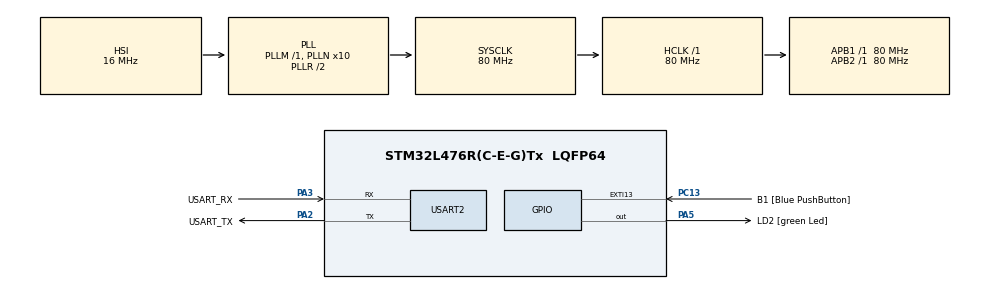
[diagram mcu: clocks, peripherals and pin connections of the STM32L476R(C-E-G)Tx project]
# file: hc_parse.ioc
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FREERTOS.BinarySemaphores01=messageReceptionSem,Dynamic,NULL
FREERTOS.Tasks01=defaultTask,0,128,StartDefaultTask,Default,NULL,Dynamic,NULL,NULL;getMessageTsk,0,128,startGetMessageTk,Default,NULL,Dynamic,NULL,NULL
Mcu.Family=STM32L4
Mcu.Name=STM32L476R(C-E-G)Tx
Mcu.Package=LQFP64
NVIC.PriorityGroup=NVIC_PRIORITYGROUP_4
NVIC.TIM1_UP_TIM16_IRQn=true\:0\:0\:false\:false\:true\:false\:false\:true
NVIC.TimeBase=TIM1_UP_TIM16_IRQn
NVIC.TimeBaseIP=TIM1
PA13\ (JTMS-SWDIO).GPIO_Label=TMS
PA13\ (JTMS-SWDIO).Mode=Serial_Wire
PA13\ (JTMS-SWDIO).Signal=SYS_JTMS-SWDIO
PA14\ (JTCK-SWCLK).GPIO_Label=TCK
PA14\ (JTCK-SWCLK).Mode=Serial_Wire
PA14\ (JTCK-SWCLK).Signal=SYS_JTCK-SWCLK
PA2.GPIO_Label=USART_TX
PA2.GPIO_Mode=GPIO_MODE_AF_PP
PA2.GPIO_PuPd=GPIO_NOPULL
PA2.GPIO_Speed=GPIO_SPEED_FREQ_VERY_HIGH
PA2.Mode=Asynchronous
PA2.Signal=USART2_TX
PA3.GPIO_Label=USART_RX
PA3.GPIO_Mode=GPIO_MODE_AF_PP
PA3.GPIO_PuPd=GPIO_NOPULL
PA3.GPIO_Speed=GPIO_SPEED_FREQ_VERY_HIGH
PA3.Mode=Asynchronous
PA3.Signal=USART2_RX
PA5.GPIO_Label=LD2 [green Led]
PA5.GPIO_ModeDefaultOutputPP=GPIO_MODE_OUTPUT_PP
PA5.GPIO_PuPd=GPIO_NOPULL
PA5.GPIO_Speed=GPIO_SPEED_FREQ_LOW
PA5.Signal=GPIO_Output
PB3\ (JTDO-TRACESWO).GPIO_Label=SWO
PB3\ (JTDO-TRACESWO).Signal=SYS_JTDO-SWO
PC13.GPIO_Label=B1 [Blue PushButton]
PC13.GPIO_ModeDefaultEXTI=GPIO_MODE_IT_FALLING
PC13.GPIO_PuPd=GPIO_NOPULL
PC13.Signal=GPXTI13
PC14-OSC32_IN\ (PC14).Mode=LSE-External-Oscillator
PC14-OSC32_IN\ (PC14).Signal=RCC_OSC32_IN
PC15-OSC32_OUT\ (PC15).Mode=LSE-External-Oscillator
PC15-OSC32_OUT\ (PC15).Signal=RCC_OSC32_OUT
PH0-OSC_IN\ (PH0).Mode=HSE-External-Oscillator
PH0-OSC_IN\ (PH0).Signal=RCC_OSC_IN
PH1-OSC_OUT\ (PH1).Mode=HSE-External-Oscillator
PH1-OSC_OUT\ (PH1).Signal=RCC_OSC_OUT
ProjectManager.HeapSize=0x200
ProjectManager.StackSize=0x400
ProjectManager.TargetToolchain=Makefile
RCC.ADCFreq_Value=64000000
RCC.AHBFreq_Value=80000000
RCC.APB1Freq_Value=80000000
RCC.APB1TimFreq_Value=80000000
RCC.APB2Freq_Value=80000000
RCC.APB2TimFreq_Value=80000000
RCC.CortexFreq_Value=80000000
RCC.HCLKFreq_Value=80000000
RCC.HSE_VALUE=8000000
RCC.HSI_VALUE=16000000
RCC.MSI_VALUE=4000000
RCC.PLLN=10
RCC.PLLSourceVirtual=RCC_PLLSOURCE_HSI
RCC.PREFETCH_ENABLE=1
RCC.SYSCLKFreq_VALUE=80000000
RCC.SYSCLKSource=RCC_SYSCLKSOURCE_PLLCLK
RCC.USBFreq_Value=64000000
RCC.VCOOutputFreq_Value=160000000
USART2.VirtualMode-Asynchronous=VM_ASYNC
VP_FREERTOS_VS_CMSIS_V1.Mode=CMSIS_V1
VP_SYS_VS_tim1.Mode=TIM1
board=NUCLEO-L476RG

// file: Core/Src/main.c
/* USER CODE BEGIN Header */
/**
  ******************************************************************************
  * @file           : main.c
  * @brief          : Main program body
  ******************************************************************************
  * @attention
  *
  * <h2><center>&copy; Copyright (c) 2019 STMicroelectronics.
  * All rights reserved.</center></h2>
  *
  * This software component is licensed by ST under Ultimate Liberty license
  * SLA0044, the "License"; You may not use this file except in compliance with
  * the License. You may obtain a copy of the License at:
  *                             www.st.com/SLA0044
  *
  ******************************************************************************
  */
/* USER CODE END Header */

#include "main.h"
#include "cmsis_os.h"
#include "usart.h"
#include "gpio.h"

void SystemClock_Config(void);
void MX_FREERTOS_Init(void);

int main(void)
{

  /* MCU Configuration--------------------------------------------------------*/

  /* Reset of all peripherals, Initializes the Flash interface and the Systick. */
  HAL_Init();

  /* Configure the system clock */
  SystemClock_Config();

  /* Initialize all configured peripherals */
  MX_GPIO_Init();
  MX_USART2_UART_Init();

  /* Call init function for freertos objects (in freertos.c) */
  MX_FREERTOS_Init();

  /* Start scheduler */
  osKernelStart();

  /* We should never get here as control is now taken by the scheduler */

  /* Infinite loop */
  while (1)
  {

  }
}

void SystemClock_Config(void)
{
  RCC_OscInitTypeDef RCC_OscInitStruct = {0};
  RCC_ClkInitTypeDef RCC_ClkInitStruct = {0};
  RCC_PeriphCLKInitTypeDef PeriphClkInit = {0};

  /** Initializes the CPU, AHB and APB busses clocks
  */
  RCC_OscInitStruct.OscillatorType = RCC_OSCILLATORTYPE_HSI;
  RCC_OscInitStruct.HSIState = RCC_HSI_ON;
  RCC_OscInitStruct.HSICalibrationValue = RCC_HSICALIBRATION_DEFAULT;
  RCC_OscInitStruct.PLL.PLLState = RCC_PLL_ON;
  RCC_OscInitStruct.PLL.PLLSource = RCC_PLLSOURCE_HSI;
  RCC_OscInitStruct.PLL.PLLM = 1;
  RCC_OscInitStruct.PLL.PLLN = 10;
  RCC_OscInitStruct.PLL.PLLP = RCC_PLLP_DIV7;
  RCC_OscInitStruct.PLL.PLLQ = RCC_PLLQ_DIV2;
  RCC_OscInitStruct.PLL.PLLR = RCC_PLLR_DIV2;
  if (HAL_RCC_OscConfig(&RCC_OscInitStruct) != HAL_OK)
  {
    Error_Handler();
  }
  /** Initializes the CPU, AHB and APB busses clocks
  */
  RCC_ClkInitStruct.ClockType = RCC_CLOCKTYPE_HCLK|RCC_CLOCKTYPE_SYSCLK
                              |RCC_CLOCKTYPE_PCLK1|RCC_CLOCKTYPE_PCLK2;
  RCC_ClkInitStruct.SYSCLKSource = RCC_SYSCLKSOURCE_PLLCLK;
  RCC_ClkInitStruct.AHBCLKDivider = RCC_SYSCLK_DIV1;
  RCC_ClkInitStruct.APB1CLKDivider = RCC_HCLK_DIV1;
  RCC_ClkInitStruct.APB2CLKDivider = RCC_HCLK_DIV1;

  if (HAL_RCC_ClockConfig(&RCC_ClkInitStruct, FLASH_LATENCY_4) != HAL_OK)
  {
    Error_Handler();
  }
  PeriphClkInit.PeriphClockSelection = RCC_PERIPHCLK_USART2;
  PeriphClkInit.Usart2ClockSelection = RCC_USART2CLKSOURCE_PCLK1;
  if (HAL_RCCEx_PeriphCLKConfig(&PeriphClkInit) != HAL_OK)
  {
    Error_Handler();
  }
  /** Configure the main internal regulator output voltage
  */
  if (HAL_PWREx_ControlVoltageScaling(PWR_REGULATOR_VOLTAGE_SCALE1) != HAL_OK)
  {
    Error_Handler();
  }
}

void HAL_TIM_PeriodElapsedCallback(TIM_HandleTypeDef *htim)
{
  if (htim->Instance == TIM1) {
    HAL_IncTick();
  }
}

void Error_Handler(void)
{
}

/************************ (C) COPYRIGHT STMicroelectronics *****END OF FILE****/

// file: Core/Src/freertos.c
/* USER CODE BEGIN Header */
/**
 ******************************************************************************
 * File Name          : freertos.c
 * Description        : Code for freertos applications
 ******************************************************************************
 * @attention
 *
 * <h2><center>&copy; Copyright (c) 2019 STMicroelectronics.
 * All rights reserved.</center></h2>
 *
 * This software component is licensed by ST under Ultimate Liberty license
 * SLA0044, the "License"; You may not use this file except in compliance with
 * the License. You may obtain a copy of the License at:
 *                             www.st.com/SLA0044
 *
 ******************************************************************************
 */
/* USER CODE END Header */

#include "FreeRTOS.h"
#include "cmsis_os.h"
#include "main.h"
#include "task.h"

/* USER CODE BEGIN Includes */
#include "moteurpp.h"
#include "usart.h"
#include <stdio.h>
/* USER CODE END Includes */

osThreadId defaultTaskHandle;
osThreadId getMessageTskHandle;
osSemaphoreId messageReceptionSemHandle;

void
StartDefaultTask(void const* argument);
void
startGetMessageTk(void const* argument);

void
MX_FREERTOS_Init(void); /* (MISRA C 2004 rule 8.1) */

void
MX_FREERTOS_Init(void)
{

  /* Create the semaphores(s) */
  /* definition and creation of messageReceptionSem */
  osSemaphoreDef(messageReceptionSem);
  messageReceptionSemHandle =
    osSemaphoreCreate(osSemaphore(messageReceptionSem), 1);

  /* Create the thread(s) */
  /* definition and creation of defaultTask */
  osThreadDef(defaultTask, StartDefaultTask, osPriorityAboveNormal, 0, 128);
  defaultTaskHandle = osThreadCreate(osThread(defaultTask), NULL);

  /* definition and creation of getMessageTsk */
  osThreadDef(getMessageTsk, startGetMessageTk, osPriorityNormal, 0, 128);
  getMessageTskHandle = osThreadCreate(osThread(getMessageTsk), NULL);

}

void
StartDefaultTask(void const* argument)
{

  /* USER CODE BEGIN StartDefaultTask */
  char tick[] = "tick\r\n";
  /* Infinite loop */
  for (;;) {
    HAL_UART_Transmit(&huart2, (uint8_t*)tick, 6, 0xFFFF);
    HAL_GPIO_TogglePin(LD2_GPIO_Port, LD2_Pin);
    osDelay(1000);
  }
  /* USER CODE END StartDefaultTask */
}

void
startGetMessageTk(void const* argument)
{
  /* USER CODE BEGIN startGetMessageTk */
  char message[33];
  const char none_msg[] = "got invalid message";
  /* Infinite loop */

  for (;;) {
    // xSemaphoreTake(messageReceptionSemHandle);
    // int8_t msg_len = receiveMessage(message, 33);
    int8_t msg_len = -1;
    if (msg_len != -1) {
      char out_log[32];
      snprintf(out_log, 48, "got [%s]\r\n", message);
      HAL_UART_Transmit(&huart2, (uint8_t*)out_log, 32, 0xFF);
    } else {
      HAL_UART_Transmit(&huart2, (uint8_t*)none_msg, sizeof(none_msg), 0xFF);

    }

    osDelay(500);
  }
  /* USER CODE END startGetMessageTk */
}

/************************ (C) COPYRIGHT STMicroelectronics *****END OF FILE****/
